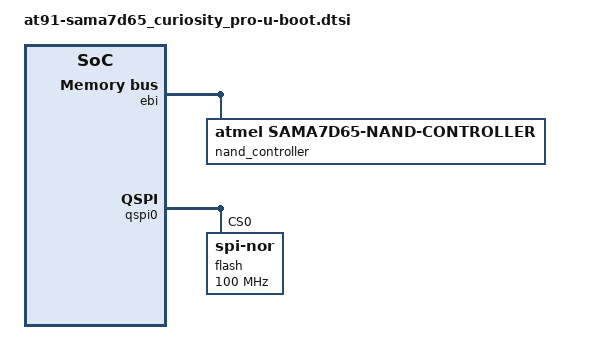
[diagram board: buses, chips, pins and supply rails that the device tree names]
// SPDX-License-Identifier: (GPL-2.0+ OR MIT)
/*
 *  at91-sama7d65_curiosity_pro-u-boot.dtsi - Device Tree Include file for
 *  SAMA7D65 CURIOSITY PRO.
 *
 *  Copyright (c) 2026 Microchip Technology Inc. and its subsidiaries
 *
 *  Author: Varshini Rajendran <varshini.rajendran@microchip.com>
 */

/{

	soc {
		bootph-all;

		nfc_sram: sram@600000 {
			compatible = "mmio-sram";
			no-memory-wc;
			reg = <0x00600000 0x2400>;
			#address-cells = <1>;
			#size-cells = <1>;
			ranges = <0 0x00600000 0x2400>;
		};

		nfc_io: nfc-io@10000000 {
			compatible = "atmel,sama5d3-nfc-io", "syscon";
			reg = <0x10000000 0x8000000>;
		};

		ebi: ebi@40000000 {
			compatible = "microchip,sama7d65-ebi", "atmel,sama5d3-ebi";
			#address-cells = <2>;
			#size-cells = <1>;
			atmel,smc = <&hsmc>;
			reg = <0x40000000 0x18000000>;
			ranges = <0x0 0x0 0x40000000 0x8000000
				  0x1 0x0 0x48000000 0x10000000>;
			clocks = <&pmc PMC_TYPE_CORE 31>; /* PMC_MCK5 */
			pinctrl-names = "default";
			pinctrl-0 = <&pinctrl_nand_default>;

			nand_controller: nand-controller {
				compatible = "atmel,sama7d65-nand-controller", "atmel,sama5d3-nand-controller";
				atmel,nfc-sram = <&nfc_sram>;
				atmel,nfc-io = <&nfc_io>;
				ecc-engine = <&pmecc>;
				#address-cells = <2>;
				#size-cells = <1>;
				ranges;

				nand@0 {
					reg = <0x0 0x0 0x1000000>;
					atmel,rb = <0>;
					nand-bus-width = <8>;
					nand-ecc-mode = "hw";
					nand-ecc-strength = <8>;
					nand-ecc-step-size = <512>;
					nand-on-flash-bbt;
					label = "at91-nand";
				};
			};
		};

		hsmc: hsmc@e0808000 {
			compatible = "atmel,sama5d2-smc", "syscon", "simple-mfd";
			reg = <0xe0808000 0x1000>;
			interrupts = <GIC_SPI 20 IRQ_TYPE_LEVEL_HIGH>;
			clocks = <&pmc PMC_TYPE_PERIPHERAL 20>;
			#address-cells = <1>;
			#size-cells = <1>;
			ranges;

			pmecc: ecc-engine@e0808070 {
				compatible = "microchip,sama7d65-pmecc", "atmel,sama5d2-pmecc";
				reg = <0xe0808070 0x490>,
				      <0xe0808500 0x200>;
			};
		};

		qspi0: spi@e080c000 {
			compatible = "microchip,sama7d65-ospi";
			reg = <0xe080c000 0x400>, <0x20000000 0x1000000>; // limit to 16 MiB
			reg-names = "qspi_base", "qspi_mmap"; // mmap max size 256 MiB
			interrupts = <GIC_SPI 73 IRQ_TYPE_LEVEL_HIGH>;
			dmas = <&dma0 AT91_XDMAC_DT_PERID(41)>,
			       <&dma0 AT91_XDMAC_DT_PERID(40)>;
			dma-names = "tx", "rx";
			clocks = <&pmc PMC_TYPE_PERIPHERAL 73>, <&pmc PMC_TYPE_GCK 73>;
			clock-names = "pclk", "gclk";
			assigned-clock-parents = <&pmc PMC_TYPE_CORE 10>; // ID_PLL_SYS_DIV
			assigned-clocks = <&pmc PMC_TYPE_GCK 73>;
			#address-cells = <1>;
			#size-cells = <0>;
			pinctrl-names = "default";
			pinctrl-0 = <&pinctrl_qspi0_default>;

			flash@0 {
				compatible = "jedec,spi-nor";
				reg = <0x0>;
				spi-max-frequency = <100000000>;
				spi-tx-bus-width = <4>;
				spi-rx-bus-width = <4>;
				m25p,fast-read;
			};
		};
	};
};

&pioa {
	bootph-all;

	pinctrl_nand_default: nand-default {
		pinmux = <PIN_PA0__NWER0>,
			 <PIN_PA1__A21>,
			 <PIN_PA2__A22>,
			 <PIN_PA3__D0>,
			 <PIN_PA4__D1>,
			 <PIN_PA5__D4>,
			 <PIN_PA6__D5>,
			 <PIN_PA7__D6>,
			 <PIN_PA8__D7>,
			 <PIN_PA9__D2>,
			 <PIN_PA10__D3>,
			 <PIN_PA11__NANDRDY>,
			 <PIN_PA12__NRD>,
			 <PIN_PA13__NCS0>;
		slew-rate = <0>;
		bias-disable;
	};

	pinctrl_qspi0_default: qspi0-default {
		pinmux = <PIN_PB8__QSPI0_IO3>,
			 <PIN_PB9__QSPI0_IO2>,
			 <PIN_PB10__QSPI0_IO1>,
			 <PIN_PB11__QSPI0_IO0>,
			 <PIN_PB12__QSPI0_CS>,
			 <PIN_PB13__QSPI0_SCK>;
		bias-disable;
		atmel,drive-strength = <ATMEL_PIO_DRVSTR_2>;
		slew-rate = <0>;
	};
};
